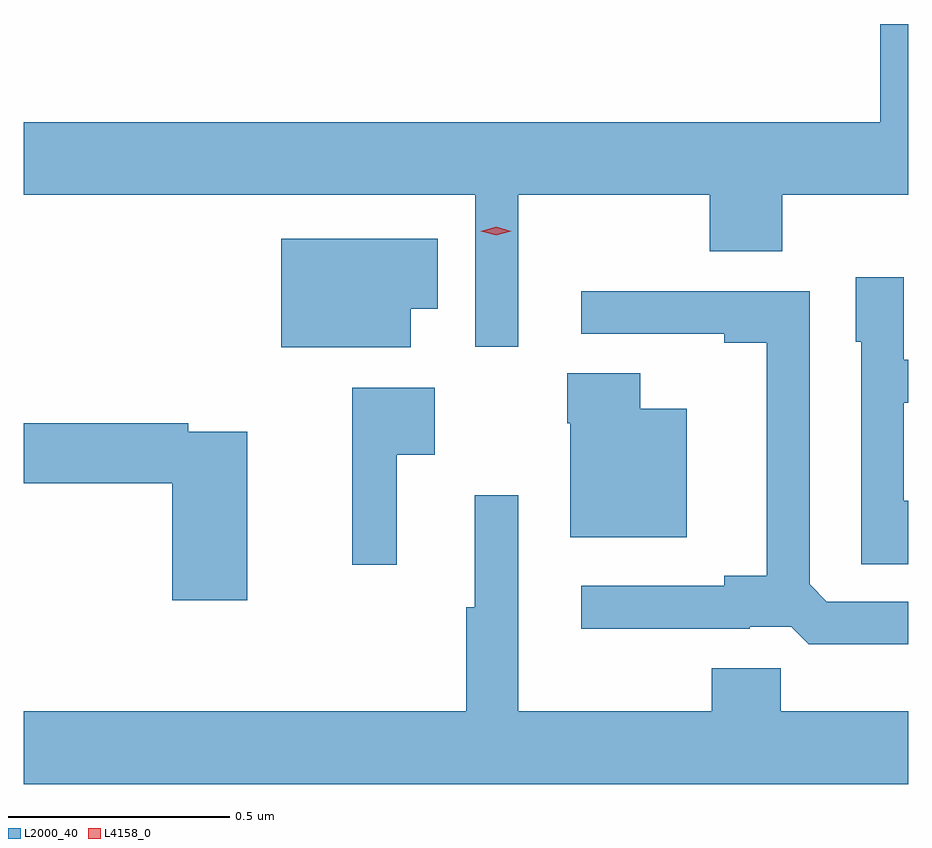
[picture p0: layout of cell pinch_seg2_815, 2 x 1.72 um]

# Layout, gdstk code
import gdstk
lib = gdstk.Library(unit=1e-6, precision=1e-09)
def P(c, l, *ps):  # polygons
    for p in ps: c.add(gdstk.Polygon(p, *l))
L2000_40 = (2000, 40)
L4158_0 = (4158, 0)

pinch_seg2_815 = lib.new_cell('pinch_seg2_815')
P(pinch_seg2_815, L2000_40, [(721.78,614.336),(722.213,614.336),(722.213,614.208),(722.377,614.208),(722.377,614.336),(722.662,614.336),(722.662,614.722),(722.598,614.722),(722.598,614.5),(720.662,614.5),(720.662,614.336),(721.683,614.336),(721.683,613.992),(721.78,613.992)],
  [(721.537,614.078),(721.598,614.078),(721.598,614.236),(721.244,614.236),(721.244,613.991),(721.537,613.991)],
  [(722.662,613.644),(722.652,613.644),(722.652,613.866),(722.662,613.866),(722.662,613.963),(722.652,613.963),(722.652,614.149),(722.543,614.149),(722.543,614.004),(722.556,614.004),(722.556,613.501),(722.662,613.501)],
  [(722.662,613.416),(722.478,613.416),(722.439,613.455),(722.439,614.118),(721.923,614.118),(721.923,614.022),(722.246,614.022),(722.246,614.002),(722.342,614.002),(722.342,613.475),(722.246,613.475),(722.246,613.452),(721.923,613.452),(721.923,613.355),(722.303,613.355),(722.303,613.359),(722.397,613.359),(722.437,613.32),(722.662,613.32)],
  [(722.161,613.852),(722.056,613.852),(722.056,613.933),(721.891,613.933),(721.891,613.82),(721.898,613.82),(721.898,613.562),(722.161,613.562)],
  [(721.505,613.748),(721.591,613.748),(721.591,613.9),(721.405,613.9),(721.405,613.5),(721.505,613.5)],
  [(721.168,613.8),(721.034,613.8),(721.034,613.82),(720.662,613.82),(720.662,613.684),(720.998,613.684),(720.998,613.419),(721.168,613.419)],
  [(722.662,613.168),(722.373,613.168),(722.373,613.266),(722.218,613.266),(722.218,613.168),(721.78,613.168),(721.78,613.657),(721.682,613.657),(721.682,613.404),(721.663,613.404),(721.663,613.168),(720.662,613.168),(720.662,613.004),(722.662,613.004)])
P(pinch_seg2_815, L4158_0, [(721.73,614.244),(721.695,614.254),(721.695,614.254),(721.695,614.254),(721.73,614.264),(721.764,614.254),(721.764,614.254),(721.764,614.254)])

lib.write_gds('pinch_seg2_815.gds')
